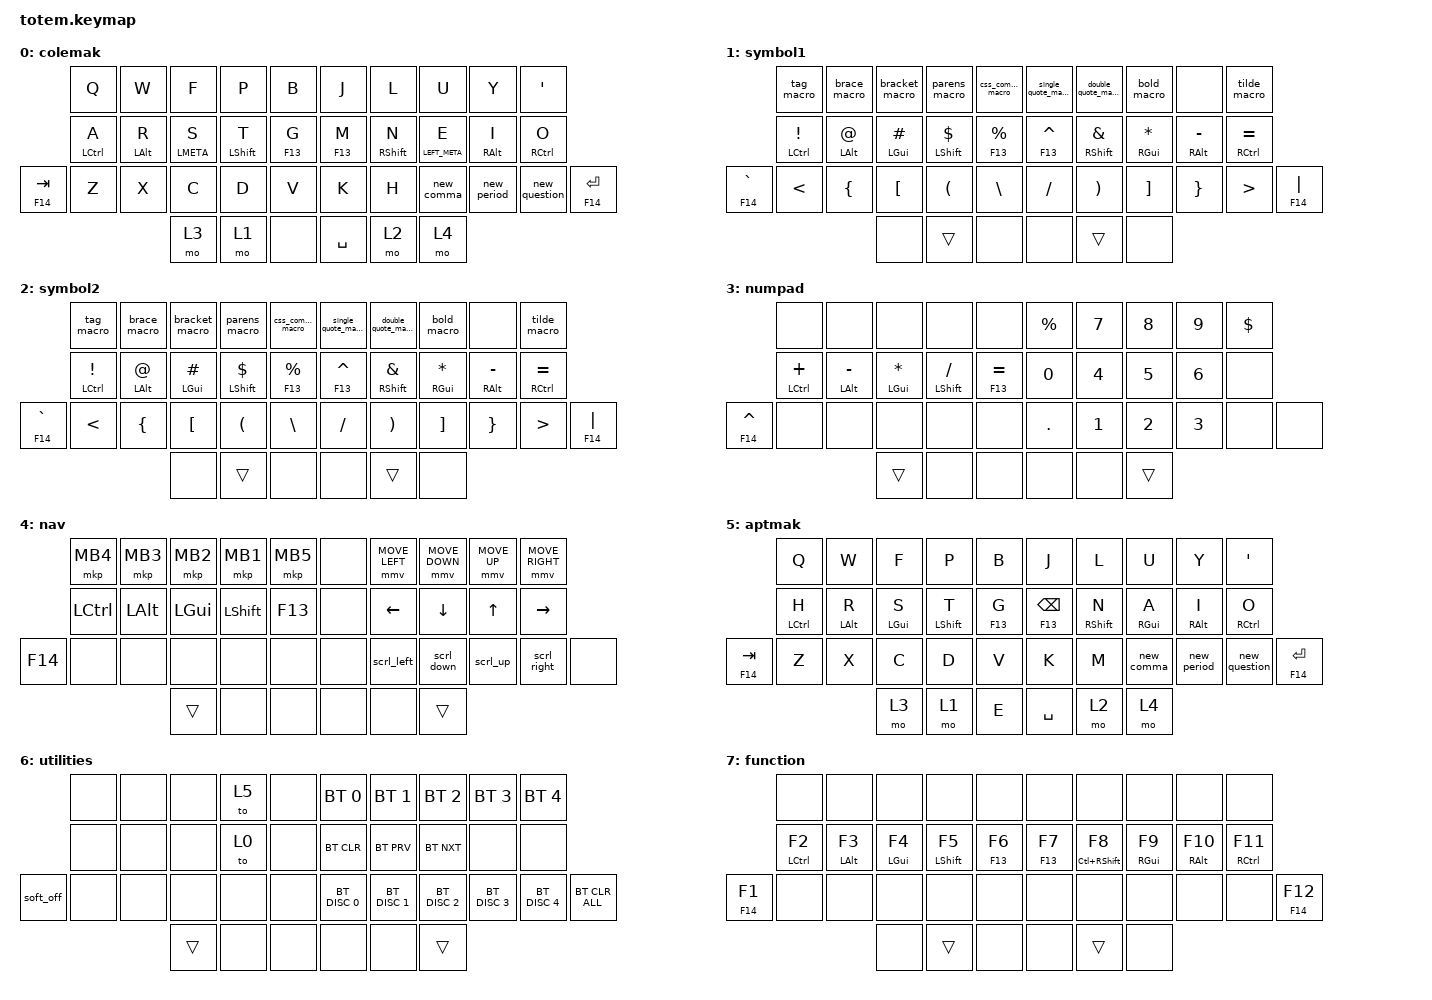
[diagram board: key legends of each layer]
//
//                                                        ▀▀▀▀▀     ▀▀▀▀▀          ▀▀█▀▀
//                                                        ▄▀▀▀▄  ▄  ▄▀▀▀▄  ▄  ▄▀▀▀▄  █  ▄▀▀▀▄
//                                                        █   █  █  █   █  █  █   █  █  █   █
//                                                         ▀▀▀   █   ▀▀▀   █   ▀▀▀   ▀   ▀▀▀
//                                                               █      ▄▄▄█▄▄▄    █   █  
//                                                               ▀      █  █  █     █▄█
//                                                             ▀▀▀▀▀    █  █  █      ▀
//                                                                      ▀  ▀  ▀
//
// ▄▄▄▄▄▄▄▄▄▄▄▄▄▄▄▄▄▄▄▄▄▄▄▄▄▄▄▄▄▄▄▄▄▄▄▄▄▄▄▄▄▄▄▄▄▄▄▄▄▄▄▄▄▄▄▄▄▄▄▄▄▄▄▄▄▄▄▄▄▄▄▄▄▄▄▄▄▄▄▄▄▄▄▄▄▄▄▄▄▄▄▄▄▄▄▄▄▄▄▄▄▄▄▄▄▄▄▄▄▄▄▄▄▄▄▄▄▄▄▄▄▄▄▄▄▄▄▄▄▄▄▄▄▄▄▄▄▄▄▄▄▄▄▄▄▄▄▄▄

#include <behaviors.dtsi>
#include <dt-bindings/zmk/bt.h>
#include <dt-bindings/zmk/keys.h>
#include <dt-bindings/zmk/pointing.h>

&mmv {
};

/ {
    combos {
        compatible = "zmk,combos";

        Backspace {
            bindings = <&kp BACKSPACE>;
            key-positions = <8 7>;
            require-prior-idle-ms = <150>;
        };

        Escape {
            bindings = <&kp ESC>;
            key-positions = <1 0>;
            require-prior-idle-ms = <150>;
        };

        Enter {
            bindings = <&kp ENTER>;
            key-positions = <7 6>;
            require-prior-idle-ms = <150>;
        };

        Tab {
            bindings = <&kp TAB>;
            key-positions = <2 1>;
            require-prior-idle-ms = <150>;
        };

        combo_backspace_2 {
            bindings = <&kp BACKSPACE>;
            key-positions = <8 9>;
            require-prior-idle-ms = <150>;
        };
    };

    behaviors {
        hrml: hrml {
            compatible = "zmk,behavior-hold-tap";
            label = "HRML";
            bindings = <&kp>, <&kp>;

            #binding-cells = <2>;
            tapping-term-ms = <280>;
            flavor = "balanced";
            quick-tap-ms = <175>;
            require-prior-idle-ms = <150>;
            hold-trigger-on-release;
            hold-trigger-key-positions = <35 34 5 6 7 8 9 15 16 17 18 19 26 27 28 29 30 31>;
        };

        hrmr: hrmr {
            compatible = "zmk,behavior-hold-tap";
            label = "HRMR";
            bindings = <&kp>, <&kp>;

            #binding-cells = <2>;
            tapping-term-ms = <280>;
            flavor = "tap-preferred";
            quick-tap-ms = <175>;
            require-prior-idle-ms = <150>;
            hold-trigger-on-release;
            hold-trigger-key-positions = <0 1 2 3 4 10 11 12 13 14 20 21 22 23 24 25 34 35>;
        };

        scrl_up: scrl_up {
            compatible = "zmk,behavior-mod-morph";
            label = "SCRL_UP";
            bindings = <&msc SCRL_UP>, <&kp PG_UP>;

            #binding-cells = <0>;
            mods = <(MOD_LSFT)>;
        };

        scrl_down: scrl_down {
            compatible = "zmk,behavior-mod-morph";
            label = "SCRL_DOWN";
            bindings = <&msc SCRL_DOWN>, <&kp PG_DN>;

            #binding-cells = <0>;
            mods = <(MOD_LSFT)>;
        };

        scrl_left: scrl_left {
            compatible = "zmk,behavior-mod-morph";
            label = "SCRL_LEFT";
            bindings = <&msc SCRL_LEFT>, <&kp HOME>;

            #binding-cells = <0>;
            mods = <(MOD_LSFT)>;
        };

        scrl_right: scrl_right {
            compatible = "zmk,behavior-mod-morph";
            label = "SCRL_RIGHT";
            bindings = <&msc SCRL_RIGHT>, <&kp END>;

            #binding-cells = <0>;
            mods = <(MOD_LSFT)>;
        };

        new_comma: new_comma {
            compatible = "zmk,behavior-mod-morph";
            label = "NEW_COMMA";
            bindings = <&kp COMMA>, <&kp SEMICOLON>;

            #binding-cells = <0>;
            mods = <(MOD_LSFT|MOD_RSFT)>;
        };

        new_period: new_period {
            compatible = "zmk,behavior-mod-morph";
            label = "NEW_PERIOD";
            bindings = <&kp PERIOD>, <&kp COLON>;

            #binding-cells = <0>;
            mods = <(MOD_LSFT|MOD_RSFT)>;
        };

        new_question: new_question {
            compatible = "zmk,behavior-mod-morph";
            label = "NEW_QUESTION";
            bindings = <&kp QUESTION>, <&kp EXCLAMATION>;

            #binding-cells = <0>;
            mods = <(MOD_LSFT|MOD_RSFT)>;
        };
    };

    macros {
        bold_macro: bold_macro {
            compatible = "zmk,behavior-macro";
            #binding-cells = <0>;
            bindings = <&kp STAR &kp STAR &kp LEFT>;
            label = "BOLD_MACRO";
        };

        double_quote_macro: double_quote_macro {
            compatible = "zmk,behavior-macro";
            #binding-cells = <0>;
            bindings = <&kp DQT &kp DQT &kp LEFT>;
            label = "DOUBLE_QUOTE_MACRO";
        };

        single_quote_macro: single_quote_macro {
            compatible = "zmk,behavior-macro";
            #binding-cells = <0>;
            bindings = <&kp SQT &kp SQT &kp LEFT>;
            label = "SINGLE_QUOTE_MACRO";
        };

        tilde_macro: grave_macro {
            compatible = "zmk,behavior-macro";
            #binding-cells = <0>;
            bindings = <&kp GRAVE &kp GRAVE &kp LEFT>;
            label = "GRAVE_MACRO";
        };

        parens_macro: parens_macro {
            compatible = "zmk,behavior-macro";
            #binding-cells = <0>;
            bindings = <&kp LPAR &kp RPAR &kp LEFT>;
            label = "PARENS_MACRO";
        };

        bracket_macro: bracket_macro {
            compatible = "zmk,behavior-macro";
            #binding-cells = <0>;
            bindings = <&kp LBKT &kp RBKT &kp LEFT>;
            label = "BRACKET_MACRO";
        };

        brace_macro: brace_macro {
            compatible = "zmk,behavior-macro";
            #binding-cells = <0>;
            bindings = <&kp LBRC &kp RBRC &kp LEFT>;
            label = "BRACE_MACRO";
        };

        tag_macro: tag_macro {
            compatible = "zmk,behavior-macro";
            #binding-cells = <0>;
            bindings = <&kp LT &kp GT &kp LEFT>;
            label = "TAG_MACRO";
        };

        css_comment_macro: css_comment_macro {
            compatible = "zmk,behavior-macro";
            #binding-cells = <0>;
            bindings = <&kp FSLH &kp STAR &kp SPACE &kp SPACE &kp STAR &kp FSLH &kp LEFT &kp LEFT &kp LEFT>;
            label = "CSS_COMMENT_MACRO";
        };
    };

    keymap {
        compatible = "zmk,keymap";

        colemak {
            bindings = <
               &kp Q          &kp W             &kp F          &kp P               &kp B          &kp J        &kp L                &kp U              &kp Y              &kp SQT
               &hrml LCTRL A  &hrml LEFT_ALT R  &hrml LMETA S  &hrml LEFT_SHIFT T  &hrml F13 G    &hrmr F13 M  &hrmr RIGHT_SHIFT N  &hrmr LEFT_META E  &hrmr RIGHT_ALT I  &hrmr RCTRL O
&hrml F14 TAB  &kp Z          &kp X             &kp C          &kp D               &kp V          &kp K        &kp H                &new_comma         &new_period        &new_question  &hrmr F14 ENTER
                                                &mo 3          &mo 1               &none          &kp SPACE    &mo 2                &mo 4
            >;
        };

        symbol1 {
            bindings = <
                 &tag_macro               &brace_macro            &bracket_macro       &parens_macro        &css_comment_macro    &single_quote_macro  &double_quote_macro     &bold_macro               &none                  &tilde_macro
                 &hrml LCTRL EXCLAMATION  &hrml LEFT_ALT AT_SIGN  &hrml LEFT_GUI HASH  &hrml LSHIFT DOLLAR  &hrml F13 PERCENT     &hrmr F13 CARET      &hrmr RSHIFT AMPERSAND  &hrmr RIGHT_GUI ASTERISK  &hrmr RIGHT_ALT MINUS  &hrmr RCTRL EQUAL
&hrml F14 GRAVE  &kp LT                   &kp LEFT_BRACE          &kp LEFT_BRACKET     &kp LPAR             &kp BSLH              &kp SLASH            &kp RIGHT_PARENTHESIS   &kp RIGHT_BRACKET         &kp RIGHT_BRACE        &kp GREATER_THAN   &hrmr F14 PIPE
                                                                  &none                &trans               &none                 &none                &trans                  &none
            >;
        };

        symbol2 {
            bindings = <
                 &tag_macro               &brace_macro            &bracket_macro       &parens_macro        &css_comment_macro    &single_quote_macro  &double_quote_macro     &bold_macro               &none                  &tilde_macro
                 &hrml LCTRL EXCLAMATION  &hrml LEFT_ALT AT_SIGN  &hrml LEFT_GUI HASH  &hrml LSHIFT DOLLAR  &hrml F13 PERCENT     &hrmr F13 CARET      &hrmr RSHIFT AMPERSAND  &hrmr RIGHT_GUI ASTERISK  &hrmr RIGHT_ALT MINUS  &hrmr RCTRL EQUAL
&hrml F14 GRAVE  &kp LT                   &kp LEFT_BRACE          &kp LEFT_BRACKET     &kp LPAR             &kp BSLH              &kp SLASH            &kp RIGHT_PARENTHESIS   &kp RIGHT_BRACKET         &kp RIGHT_BRACE        &kp GREATER_THAN   &hrmr F14 PIPE
                                                                  &none                &trans               &none                 &none                &trans                  &none
            >;
        };

        numpad {
            bindings = <
                 &none             &none                 &none                    &none                   &none              &kp PERCENT  &kp N7  &kp N8  &kp N9  &kp DOLLAR
                 &hrml LCTRL PLUS  &hrml LEFT_ALT MINUS  &hrml LEFT_GUI ASTERISK  &hrml LEFT_SHIFT SLASH  &hrml F13 EQUAL    &kp N0       &kp N4  &kp N5  &kp N6  &none
&hrml F14 CARET  &none             &none                 &none                    &none                   &none              &kp DOT      &kp N1  &kp N2  &kp N3  &none       &none
                                                         &trans                   &none                   &none              &none        &none   &trans
            >;
        };

        nav {
            bindings = <
         &mkp MB4          &mkp MB3      &mkp MB2      &mkp MB1        &mkp MB5    &none  &mmv MOVE_LEFT  &mmv MOVE_DOWN  &mmv MOVE_UP  &mmv MOVE_RIGHT
         &kp LEFT_CONTROL  &kp LEFT_ALT  &kp LEFT_GUI  &kp LEFT_SHIFT  &kp F13     &none  &kp LEFT        &kp DOWN        &kp UP        &kp RIGHT
&kp F14  &none             &none         &none         &none           &none       &none  &scrl_left      &scrl_down      &scrl_up      &scrl_right      &none
                                         &trans        &none           &none       &none  &none           &trans
            >;
        };

        aptmak {
            bindings = <
               &kp Q          &kp W             &kp F             &kp P           &kp B          &kp J                &kp L           &kp U              &kp Y              &kp SQT
               &hrml LCTRL H  &hrml LEFT_ALT R  &hrml LEFT_GUI S  &hrml LSHIFT T  &hrml F13 G    &hrmr F13 BACKSPACE  &hrmr RSHIFT N  &hrmr RIGHT_GUI A  &hrmr RIGHT_ALT I  &hrmr RCTRL O
&hrml F14 TAB  &kp Z          &kp X             &kp C             &kp D           &kp V          &kp K                &kp M           &new_comma         &new_period        &new_question  &hrmr F14 ENTER
                                                &mo 3             &mo 1           &kp E          &kp SPACE            &mo 2           &mo 4
            >;
        };

        utilities {
            bindings = <
           &none  &none  &none   &to 5  &none    &bt BT_SEL 0   &bt BT_SEL 1   &bt BT_SEL 2   &bt BT_SEL 3   &bt BT_SEL 4
           &none  &none  &none   &to 0  &none    &bt BT_CLR     &bt BT_PRV     &bt BT_NXT     &none          &none
&soft_off  &none  &none  &none   &none  &none    &bt BT_DISC 0  &bt BT_DISC 1  &bt BT_DISC 2  &bt BT_DISC 3  &bt BT_DISC 4  &bt BT_CLR_ALL
                         &trans  &none  &none    &none          &none          &trans
            >;
        };

        function {
            bindings = <
              &none           &none              &none              &none            &none           &none         &none                     &none               &none                &none
              &hrml LCTRL F2  &hrml LEFT_ALT F3  &hrml LEFT_GUI F4  &hrml LSHIFT F5  &hrml F13 F6    &hrmr F13 F7  &hrmr LC(RIGHT_SHIFT) F8  &hrmr RIGHT_GUI F9  &hrmr RIGHT_ALT F10  &hrmr RCTRL F11
&hrml F14 F1  &none           &none              &none              &none            &none           &none         &none                     &none               &none                &none            &hrmr F14 F12
                                                 &none              &trans           &none           &none         &trans                    &none
            >;
        };
    };

    conditional_layers {
        compatible = "zmk,conditional-layers";

        utilities_cond {
            if-layers = <4 3>;
            then-layer = <6>;
        };

        function_cond {
            if-layers = <1 2>;
            then-layer = <7>;
        };
    };
};
